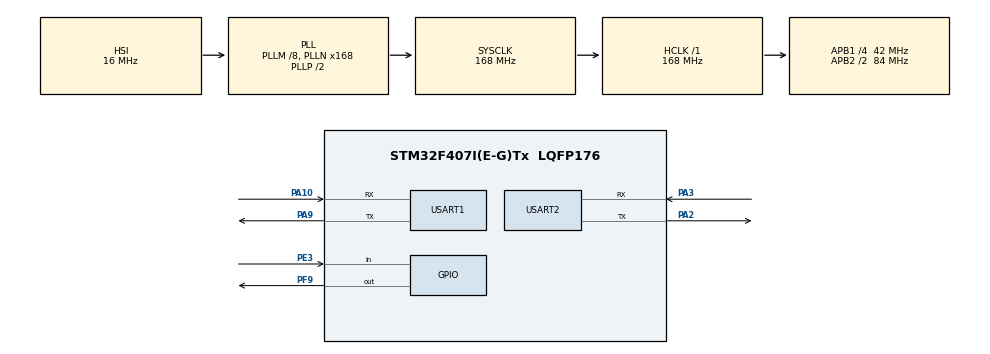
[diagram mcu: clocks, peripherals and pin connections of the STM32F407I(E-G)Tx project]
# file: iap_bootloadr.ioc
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Mcu.Family=STM32F4
Mcu.Name=STM32F407I(E-G)Tx
Mcu.Package=LQFP176
NVIC.PriorityGroup=NVIC_PRIORITYGROUP_4
NVIC.USART2_IRQn=true\:0\:0\:false\:false\:true\:true\:true\:true
PA10.Mode=Asynchronous
PA10.Signal=USART1_RX
PA2.Mode=Asynchronous
PA2.Signal=USART2_TX
PA3.Mode=Asynchronous
PA3.Signal=USART2_RX
PA9.Mode=Asynchronous
PA9.Signal=USART1_TX
PC14-OSC32_IN.Mode=LSE-External-Oscillator
PC14-OSC32_IN.Signal=RCC_OSC32_IN
PC15-OSC32_OUT.Mode=LSE-External-Oscillator
PC15-OSC32_OUT.Signal=RCC_OSC32_OUT
PE3.Signal=GPIO_Input
PF9.Signal=GPIO_Output
PH0-OSC_IN.Mode=HSE-External-Oscillator
PH0-OSC_IN.Signal=RCC_OSC_IN
PH1-OSC_OUT.Mode=HSE-External-Oscillator
PH1-OSC_OUT.Signal=RCC_OSC_OUT
ProjectManager.HeapSize=0x200
ProjectManager.StackSize=0x400
ProjectManager.TargetToolchain=MDK-ARM V5.32
RCC.48MHZClocksFreq_Value=84000000
RCC.AHBFreq_Value=168000000
RCC.APB1CLKDivider=RCC_HCLK_DIV4
RCC.APB1Freq_Value=42000000
RCC.APB1TimFreq_Value=84000000
RCC.APB2CLKDivider=RCC_HCLK_DIV2
RCC.APB2Freq_Value=84000000
RCC.APB2TimFreq_Value=168000000
RCC.CortexFreq_Value=168000000
RCC.HCLKFreq_Value=168000000
RCC.HSE_VALUE=8000000
RCC.HSI_VALUE=16000000
RCC.PLLM=8
RCC.PLLN=168
RCC.SYSCLKFreq_VALUE=168000000
RCC.SYSCLKSource=RCC_SYSCLKSOURCE_PLLCLK
RCC.VCOOutputFreq_Value=336000000
USART1.VirtualMode=VM_ASYNC
USART2.VirtualMode=VM_ASYNC
board=custom

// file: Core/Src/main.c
/* USER CODE BEGIN Header */
/**
  ******************************************************************************
  * @file           : main.c
  * @brief          : Main program body
  ******************************************************************************
  * @attention
  *
  * Copyright (c) 2026 STMicroelectronics.
  * All rights reserved.
  *
  * This software is licensed under terms that can be found in the LICENSE file
  * in the root directory of this software component.
  * If no LICENSE file comes with this software, it is provided AS-IS.
  *
  ******************************************************************************
  */
/* USER CODE END Header */
#include "main.h"
#include "usart.h"
#include "gpio.h"

/* USER CODE BEGIN Includes */
#include "stdio.h"
/* USER CODE END Includes */

/* USER CODE BEGIN PD */
//Bootloader 起始地址
#define BOOTLOADER_ADDR      0x08000000U
//App 起始地址。
#define APP_ADDR             0x08020000U
//内部 Flash 结束边界的下一个地址
#define FLASH_END_ADDR       0x08100000U
// SRAM 起始地址。
#define SRAM_START_ADDR      0x20000000U
//SRAM 结束边界的下一个地址。
#define SRAM_END_ADDR        0x20020000U
#define IAP_FILE_SIZE        4300U
#define IAP_PACKET_SIZE      256U
/* USER CODE END PD */

void SystemClock_Config(void);

/* USER CODE BEGIN 0 */
static uint8_t boot_app_is_valid(uint32_t app_addr);
static void boot_jump_to_app(uint32_t app_addr);
static HAL_StatusTypeDef boot_erase_app_flash(uint32_t Sector, uint32_t NbSectors);
static HAL_StatusTypeDef boot_write_app_flash(uint32_t addr, uint8_t *data, uint32_t len);
static void boot_iap_receive_fixed_file(void);
uint8_t uart2_rx_byte[1] = {0};
static uint8_t iap_rx_buf[IAP_FILE_SIZE];
static volatile uint8_t iap_update_request = 0;

/* USER CODE END 0 */

int main(void)
{

  /* MCU Configuration--------------------------------------------------------*/

  /* Reset of all peripherals, Initializes the Flash interface and the Systick. */
  HAL_Init();

  /* Configure the system clock */
  SystemClock_Config();

  /* Initialize all configured peripherals */
  MX_GPIO_Init();
  MX_USART1_UART_Init();
  MX_USART2_UART_Init();
  /* USER CODE BEGIN 2 */
	printf("bootloader start\r\n");
	HAL_Delay(1000);
	if (boot_app_is_valid(APP_ADDR)) {
			printf("valid app, wait key to jump\r\n");
			HAL_Delay(100);
	} else {
			printf("no valid app, stay in bootloader\r\n");
	}
	HAL_UART_Receive_IT(&huart1, uart2_rx_byte, 1);
  /* USER CODE END 2 */

  /* Infinite loop */
  while (1)
  {
		if (iap_update_request) {
			iap_update_request = 0;
			boot_iap_receive_fixed_file();
		}

		if(HAL_GPIO_ReadPin(GPIOE, GPIO_PIN_3)==RESET)
		{
				HAL_Delay(100);
				if(HAL_GPIO_ReadPin(GPIOE, GPIO_PIN_3)==RESET){
						printf("boot_jump_to_app_ran\r\n");
						boot_jump_to_app(APP_ADDR);
				}
		}
		HAL_GPIO_TogglePin(GPIOF, GPIO_PIN_9);
    HAL_Delay(500);
  }
}

void SystemClock_Config(void)
{
  RCC_OscInitTypeDef RCC_OscInitStruct = {0};
  RCC_ClkInitTypeDef RCC_ClkInitStruct = {0};

  /** Configure the main internal regulator output voltage
  */
  __HAL_RCC_PWR_CLK_ENABLE();
  __HAL_PWR_VOLTAGESCALING_CONFIG(PWR_REGULATOR_VOLTAGE_SCALE1);

  /** Initializes the RCC Oscillators according to the specified parameters
  * in the RCC_OscInitTypeDef structure.
  */
  RCC_OscInitStruct.OscillatorType = RCC_OSCILLATORTYPE_HSI;
  RCC_OscInitStruct.HSIState = RCC_HSI_ON;
  RCC_OscInitStruct.HSICalibrationValue = RCC_HSICALIBRATION_DEFAULT;
  RCC_OscInitStruct.PLL.PLLState = RCC_PLL_ON;
  RCC_OscInitStruct.PLL.PLLSource = RCC_PLLSOURCE_HSI;
  RCC_OscInitStruct.PLL.PLLM = 8;
  RCC_OscInitStruct.PLL.PLLN = 168;
  RCC_OscInitStruct.PLL.PLLP = RCC_PLLP_DIV2;
  RCC_OscInitStruct.PLL.PLLQ = 4;
  if (HAL_RCC_OscConfig(&RCC_OscInitStruct) != HAL_OK)
  {
    Error_Handler();
  }

  /** Initializes the CPU, AHB and APB buses clocks
  */
  RCC_ClkInitStruct.ClockType = RCC_CLOCKTYPE_HCLK|RCC_CLOCKTYPE_SYSCLK
                              |RCC_CLOCKTYPE_PCLK1|RCC_CLOCKTYPE_PCLK2;
  RCC_ClkInitStruct.SYSCLKSource = RCC_SYSCLKSOURCE_PLLCLK;
  RCC_ClkInitStruct.AHBCLKDivider = RCC_SYSCLK_DIV1;
  RCC_ClkInitStruct.APB1CLKDivider = RCC_HCLK_DIV4;
  RCC_ClkInitStruct.APB2CLKDivider = RCC_HCLK_DIV2;

  if (HAL_RCC_ClockConfig(&RCC_ClkInitStruct, FLASH_LATENCY_5) != HAL_OK)
  {
    Error_Handler();
  }
}

/* USER CODE BEGIN 4 */
#ifdef __GNUC__
#define PUTCHAR_PROTOTYPE int __io_putchar(int ch)
#else
#define PUTCHAR_PROTOTYPE int fputc(int ch, FILE *f)
#endif

PUTCHAR_PROTOTYPE
{
    HAL_UART_Transmit(&huart1, (uint8_t *)&ch, 1, 100);
    return ch;
}

/*
判断app的合法性

*/
static uint8_t boot_app_is_valid(uint32_t app_addr)
{
	//1.将目标地址转换为msp
	uint32_t app_map=*(__IO uint32_t *)app_addr;
	uint32_t app_reset = *(__IO uint32_t *)(app_addr + 4U);
	if((app_map<SRAM_START_ADDR )|| (app_map>SRAM_END_ADDR))
		return 0;
	if((app_reset<APP_ADDR)||(app_reset>=FLASH_END_ADDR))
		return 0;
	printf("app_msp   = 0x%08X\r\n", app_map);
	printf("app_reset = 0x%08X\r\n", app_reset);

	return 1;
}

//定义函数指针类型
typedef void (*boot_app_entry_t)(void);

static void boot_jump_to_app(uint32_t app_addr)
{
    //1.读取 App 向量表
    uint32_t app_msp = *(__IO uint32_t *)app_addr;
    uint32_t app_reset = *(__IO uint32_t *)(app_addr + 4U);
    //2. Reset_Handler 地址转成可调用函数
    boot_app_entry_t app_entry = (boot_app_entry_t)app_reset;
	//3. 关闭全局中断
    __disable_irq();
	//4.反初始化串口
    HAL_UART_DeInit(&huart1);
    HAL_UART_DeInit(&huart2);
    //5.复位 HAL 初始化过的一些外设状态
    HAL_DeInit();
	//6.停止 SysTick
    SysTick->CTRL = 0;
    SysTick->LOAD = 0;
    SysTick->VAL = 0;
	//7.清除 NVIC 中断
    for (uint8_t i = 0; i < 8; i++) {
        NVIC->ICER[i] = 0xFFFFFFFFU;
        NVIC->ICPR[i] = 0xFFFFFFFFU;
    }
	//8.设置 App 向量表
    SCB->VTOR = app_addr;
    __set_MSP(app_msp);
	//9.跳转 App
		__enable_irq();
    app_entry();
}

static HAL_StatusTypeDef boot_erase_app_flash(uint32_t Sector, uint32_t NbSectors)
{
	HAL_StatusTypeDef status;
	FLASH_EraseInitTypeDef erase_init;
	uint32_t sector_error = 0;

	// APP 从 FLASH_SECTOR_5 开始，禁止擦除 bootloader 区域。
	if (Sector < FLASH_SECTOR_5) {
		return HAL_ERROR;
	}

	// 擦除或写入 Flash 前必须先解锁。
	HAL_FLASH_Unlock();

	// 内部 Flash 按扇区擦除。
	erase_init.TypeErase = FLASH_TYPEERASE_SECTORS;
	erase_init.Sector = Sector;
	erase_init.NbSectors = NbSectors;
	erase_init.VoltageRange = FLASH_VOLTAGE_RANGE_3;

	status = HAL_FLASHEx_Erase(&erase_init, &sector_error);

	// 操作结束后重新锁定 Flash。
	HAL_FLASH_Lock();

	return status;
}
static HAL_StatusTypeDef boot_write_app_flash(uint32_t addr, uint8_t *data, uint32_t len)
{
	HAL_StatusTypeDef status = HAL_OK;
	uint32_t i = 0;
	uint32_t word = 0;
	// 判断addcr是不是在起始地址-终止地址之间
	if (addr < APP_ADDR || addr >= FLASH_END_ADDR) {
		return HAL_ERROR;
	}
	// 擦除或写入 Flash 前必须先解锁。
	HAL_FLASH_Unlock();

	while (i < len) {
		word = 0xFFFFFFFF;

		for (uint8_t j = 0; j < 4; j++) {
			if ((i + j) < len) {
				word &= ~((uint32_t)0xFF << (8 * j));
				word |= ((uint32_t)data[i + j] << (8 * j));
			}
		}
		 //往 STM32 内部 Flash写数据
		status = HAL_FLASH_Program(FLASH_TYPEPROGRAM_WORD, addr + i, word);
		if (status != HAL_OK) {
			break;
		}

		i += 4;
	}
	//关闭锁
	HAL_FLASH_Lock();

	return status;
}

static void boot_iap_receive_fixed_file(void)
{
	HAL_UART_AbortReceive_IT(&huart1);
	printf("iap start, erasing app flash\r\n");

	if (boot_erase_app_flash(FLASH_SECTOR_5, 1) != HAL_OK) {
		printf("erase failed\r\n");
		HAL_UART_Receive_IT(&huart1, uart2_rx_byte, 1);
		return;
	}

	printf("erase ok, file size: %lu, send bin file now\r\n", IAP_FILE_SIZE);

	if (HAL_UART_Receive(&huart1, iap_rx_buf, IAP_FILE_SIZE, 30000) != HAL_OK) {
		printf("receive timeout\r\n");
		HAL_UART_Receive_IT(&huart1, uart2_rx_byte, 1);
		return;
	}

	printf("receive ok, writing flash\r\n");

	if (boot_write_app_flash(APP_ADDR, iap_rx_buf, IAP_FILE_SIZE) != HAL_OK) {
		printf("write failed\r\n");
		HAL_UART_Receive_IT(&huart1, uart2_rx_byte, 1);
		return;
	}

	if (boot_app_is_valid(APP_ADDR)) {
		printf("iap update ok\r\n");
	} else {
		printf("iap update invalid\r\n");
	}

	HAL_UART_Receive_IT(&huart1, uart2_rx_byte, 1);
}
void HAL_UART_RxCpltCallback(UART_HandleTypeDef *huart)
{
	if (huart->Instance == USART1) {
		if (uart2_rx_byte[0] == 'U') {
			iap_update_request = 1;
			return;
		}

		HAL_UART_Transmit(&huart1, uart2_rx_byte, 1, 100);
		HAL_UART_Receive_IT(&huart1, uart2_rx_byte, 1);
	}
}

/* USER CODE END 4 */

void Error_Handler(void)
{
  __disable_irq();
  while (1)
  {
  }
}
